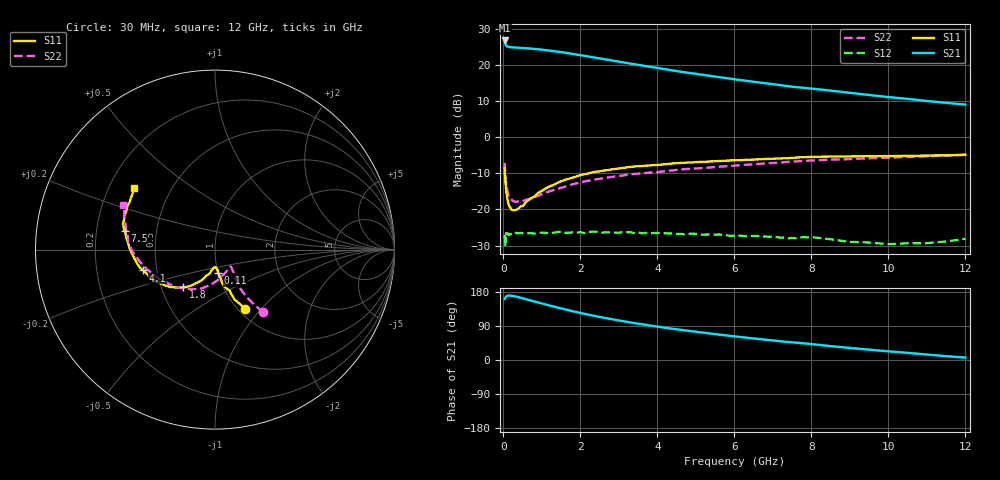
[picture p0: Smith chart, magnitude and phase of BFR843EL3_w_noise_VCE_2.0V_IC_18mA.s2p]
! Infineon Technologies  Discrete & RF Semiconductors
! BFR843EL3
! VCE =  2.0 V,  IC =  18 mA
! Common Emitter S-Parameters:  Aug 2013
# GHz  S  MA  R  50
!  f  S11  S21  S12  S22
! GHz  MAG  ANG  MAG  ANG  MAG  ANG  MAG  ANG
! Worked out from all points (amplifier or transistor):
!   103 points, 30 MHz to 12 GHz, reference 50 ohm
!   highest |S21| = 26.7 dB at 30 MHz (marker M1)
!   |S21| within 3 dB of that: start of sweep to 1.331 GHz
!   unconditionally stable (mu >= 1): 4.315 GHz to end of sweep
!   at 400 MHz: K = 1.00, MSG = 25.6 dB, |S12| = -26.6 dB
!   at 3.7 GHz: K = 0.95, MSG = 23.0 dB, |S12| = -26.5 dB
!   at 12 GHz: K = 2.20, MAG = 12.4 dB, |S12| = -28.1 dB
!   lowest NFmin = 1.06 dB at 450 MHz
!   S11 on the Smith chart (normalised r, x): 30 MHz: 1.08, -0.82; 110 MHz: 1.00, -0.27; 1.8 GHz: 0.65, -0.29; 4.1 GHz: 0.42, -0.12; 7.5 GHz: 0.32, +0.09; 12 GHz: 0.30, +0.31
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0.03  0.3705 -62.9  21.62 161.2  0.0403 26.0  0.4402 -52.5
0.04  0.2957 -68.8  20.14 163.0  0.043 20.9  0.3538 -55.3
0.06  0.2141 -75.4  18.64 166.3  0.0465 22.8  0.2588 -57.0
0.08  0.1678 -78.6  18.09 168.2  0.0456 12.8  0.2088 -55.5
0.11  0.1328 -82.0  17.72 169.6  0.0465 8.9  0.1714 -52.6
0.15  0.1116 -83.4  17.53 170.2  0.0451 6.2  0.1499 -49.6
0.25  0.097 -89.7  17.35 169.0  0.0485 2.2  0.1302 -47.0
0.7  0.1404 -103.8  16.71 157.3  0.047 2.7  0.1405 -66.3
1.2  0.2076 -118.1  15.62 143.7  0.0469 1.8  0.1779 -88.4
1.5  0.2447 -124.3  14.89 136.0  0.0487 1.7  0.1992 -98.6
1.8  0.2749 -130.3  14.08 128.7  0.0481 1.9  0.2227 -107.2
2.1  0.306 -136.3  13.26 121.8  0.0469 0.2  0.2424 -115.0
2.6  0.3444 -144.7  11.97 111.7  0.0479 1.0  0.2699 -125.6
3.1  0.3735 -151.9  10.8 102.5  0.0485 0.3  0.2931 -133.9
3.5  0.3963 -157.5  9.932 95.8  0.0477 -0.8  0.311 -140.1
4.1  0.4155 -163.8  8.833 86.6  0.0473 -0.7  0.3325 -147.1
5.1  0.4521 -173.9  7.332 73.2  0.0449 -1.5  0.3704 -157.9
6.1  0.479 178.0  6.185 61.3  0.0435 0.4  0.4066 -166.8
7.5  0.5152 168.1  4.964 46.7  0.0403 2.0  0.4571 -178.1
8.5  0.5381 159.7  4.376 36.6  0.0386 1.9  0.487 173.7
10.5  0.5493 148.5  3.368 18.8  0.034 17.1  0.5308 161.4
12  0.5695 142.7  2.81 6.4  0.0392 31.1  0.5669 154.1
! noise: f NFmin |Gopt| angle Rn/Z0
0.45  1.06  0.07  132  0.13
0.9  1.06  0.08  131  0.12
1.5  1.08  0.09  133  0.11
1.9  1.08  0.1  136  0.1
2.4  1.09  0.11  142  0.11
3.5  1.11  0.13  151  0.1
5.5  1.14  0.2  171  0.1
8  1.18  0.31  194  0.08
10  1.21  0.44  219  0.07
